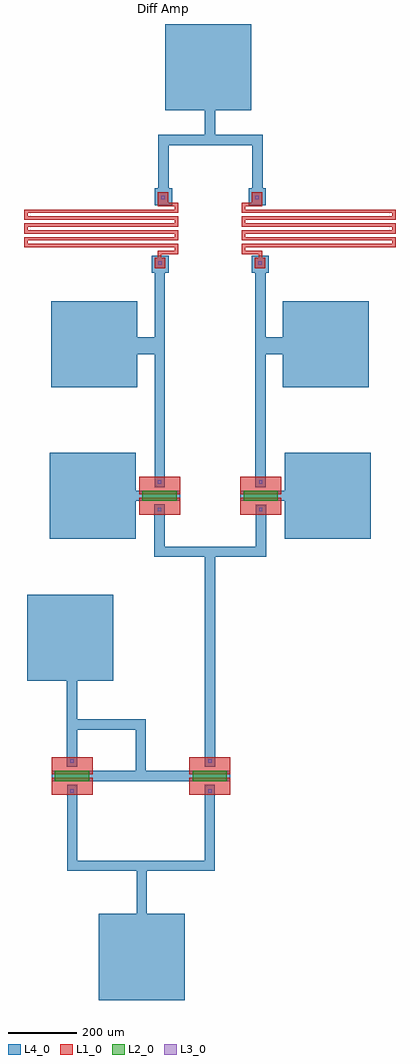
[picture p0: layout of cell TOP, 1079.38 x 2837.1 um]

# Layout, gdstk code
import gdstk
lib = gdstk.Library(unit=1e-6, precision=1e-09)
def R(c, l, rs):  # rectangles x0, y0, x1, y1
    for r in rs: c.add(gdstk.rectangle(r[:2], r[2:], *l))
def A(c, l, x, y, w, h, nx, ny, dx, dy):  # array of equal rectangles
    R(c, l, [(x+i*dx, y+j*dy, x+i*dx+w, y+j*dy+h) for i in range(nx) for j in range(ny)])
L1_0 = (1, 0)
L2_0 = (2, 0)
L3_0 = (3, 0)
L4_0 = (4, 0)

top = lib.new_cell('TOP')
A(top, L1_0, 802.918, -4554.29, 10, 10, 1, 4, 0, 40)
A(top, L1_0, 998.54, -4554.29, 10, 10, 1, 4, 0, 40)
A(top, L1_0, 366.04, -4544.29, 446.878, 10, 1, 6, 0, 20)
A(top, L1_0, 998.54, -4544.29, 446.878, 10, 1, 6, 0, 20)
A(top, L1_0, 366.04, -4534.29, 10, 10, 1, 3, 0, 40)
A(top, L1_0, 1435.418, -4534.29, 10, 10, 1, 3, 0, 40)
R(top, L1_0, [(445.134,-6135.943,565.134,-6085.943), (445.134,-6135.943,565.134,-6085.943), (845.134,-6135.943,965.134,-6085.943), (845.134,-6135.943,965.134,-6085.943), (445.134,-6075.943,565.134,-6025.943), (445.134,-6075.943,565.134,-6025.943), (845.134,-6075.943,965.134,-6025.943), (845.134,-6075.943,965.134,-6025.943), (699.41,-5321.569,819.41,-5271.569), (699.41,-5321.569,819.41,-5271.569), (993.312,-5321.569,1113.312,-5271.569), (993.312,-5321.569,1113.312,-5271.569), (699.41,-5261.569,819.41,-5211.569), (699.41,-5261.569,819.41,-5211.569), (993.312,-5261.569,1113.312,-5211.569), (993.312,-5261.569,1113.312,-5211.569), (745.13,-4604.29,775.13,-4574.29), (755.13,-4604.29,765.13,-4584.289), (1036.328,-4604.29,1066.328,-4574.29), (1046.328,-4604.29,1056.328,-4584.289), (754.518,-4574.29,764.518,-4564.29), (1046.94,-4574.29,1056.94,-4564.29), (754.518,-4564.29,812.918,-4554.29), (754.518,-4564.29,812.918,-4554.29), (998.54,-4564.29,1056.94,-4554.29), (998.54,-4564.29,1056.94,-4554.29), (754.518,-4424.29,812.918,-4414.29), (754.518,-4424.29,812.918,-4414.29), (998.54,-4424.29,1056.94,-4414.29), (998.54,-4424.29,1056.94,-4414.29), (754.518,-4414.29,784.518,-4384.29), (764.518,-4414.29,774.518,-4394.289), (1026.94,-4414.29,1056.94,-4384.29), (1036.94,-4414.29,1046.94,-4394.289)])
R(top, L2_0, [(455.134,-6095.943,555.134,-6065.943), (455.134,-6095.943,555.134,-6065.943), (855.134,-6095.943,955.134,-6065.943), (855.134,-6095.943,955.134,-6065.943), (709.41,-5281.569,809.41,-5251.569), (709.41,-5281.569,809.41,-5251.569), (1003.312,-5281.569,1103.312,-5251.569), (1003.312,-5281.569,1103.312,-5251.569)])
R(top, L3_0, [(500.134,-6129.445,510.134,-6119.445), (500.134,-6129.445,510.134,-6119.445), (900.134,-6129.445,910.134,-6119.445), (900.134,-6129.445,910.134,-6119.445), (500.134,-6042.055,510.134,-6032.055), (500.134,-6042.055,510.134,-6032.055), (900.134,-6042.055,910.134,-6032.055), (900.134,-6042.055,910.134,-6032.055), (754.41,-5311.569,764.41,-5301.569), (754.41,-5311.569,764.41,-5301.569), (1048.312,-5311.569,1058.312,-5301.569), (1048.312,-5311.569,1058.312,-5301.569), (754.41,-5231.569,764.41,-5221.569), (754.41,-5231.569,764.41,-5221.569), (1048.312,-5231.569,1058.312,-5221.569), (1048.312,-5231.569,1058.312,-5221.569), (755.13,-4594.29,765.13,-4584.29), (1046.328,-4594.29,1056.328,-4584.29), (764.518,-4404.29,774.518,-4394.29), (1036.94,-4404.29,1046.94,-4394.29)])
A(top, L4_0, 445.134, -6095.943, 130, 30, 4, 1, 130, 0)
R(top, L4_0, [(581.75,-6732.096,831.75,-6482.096), (692.34,-6482.096,722.34,-6357.096), (692.34,-6482.096,722.34,-6357.096), (490.488,-6357.096,520.488,-6232.096), (490.488,-6357.096,520.488,-6232.096), (520.488,-6357.096,650.488,-6327.096), (650.488,-6357.096,780.488,-6327.096), (780.488,-6357.096,889.78,-6327.096), (889.78,-6357.096,919.78,-6232.096), (889.78,-6357.096,919.78,-6232.096), (490.488,-6232.096,520.488,-6107.096), (490.488,-6232.096,520.488,-6107.096), (889.78,-6232.096,919.78,-6107.096), (889.78,-6232.096,919.78,-6107.096), (445.134,-6095.943,575.134,-6065.943), (835.134,-6095.943,965.134,-6065.943), (689.351,-6065.943,719.351,-5946.521), (489.718,-6053.525,519.718,-5928.525), (489.718,-6053.525,519.718,-5928.525), (890.55,-6053.525,920.55,-5928.525), (890.55,-6053.525,920.55,-5928.525), (519.718,-5946.521,649.718,-5916.521), (649.718,-5946.521,719.351,-5916.521), (489.718,-5928.525,519.718,-5803.525), (489.718,-5928.525,519.718,-5803.525), (890.55,-5928.525,920.55,-5664.22), (373.781,-5803.525,623.781,-5553.525), (890.55,-5664.22,920.55,-5539.22), (890.55,-5664.22,920.55,-5539.22), (890.55,-5539.22,920.55,-5414.22), (744.056,-5444.22,890.55,-5414.22), (920.55,-5444.22,1068.666,-5414.22), (744.056,-5414.22,774.056,-5291.669), (1038.666,-5414.22,1068.666,-5292.214), (439.41,-5391.569,689.41,-5141.569), (439.41,-5391.569,689.41,-5141.569), (1123.312,-5391.569,1373.312,-5141.569), (1123.312,-5391.569,1373.312,-5141.569), (689.41,-5281.569,819.41,-5251.569), (689.41,-5281.569,819.41,-5251.569), (993.312,-5281.569,1123.312,-5251.569), (993.312,-5281.569,1123.312,-5251.569), (1037.896,-5241.751,1067.896,-5118.039), (744.826,-5241.327,774.826,-5118.039), (744.826,-5118.039,774.826,-4993.039), (744.826,-5118.039,774.826,-4993.039), (1037.896,-5118.039,1067.896,-4993.039), (1037.896,-5118.039,1067.896,-4993.039), (744.826,-4993.039,774.826,-4868.039), (744.826,-4993.039,774.826,-4868.039), (1037.896,-4993.039,1067.896,-4868.039), (1037.896,-4993.039,1067.896,-4868.039), (444.826,-4951.219,694.826,-4701.219), (444.826,-4951.219,694.826,-4701.219), (1117.896,-4951.219,1367.896,-4701.219), (1117.896,-4951.219,1367.896,-4701.219), (744.826,-4868.039,774.826,-4743.039), (744.826,-4868.039,774.826,-4743.039), (1037.896,-4868.039,1067.896,-4743.039), (1037.896,-4868.039,1067.896,-4743.039), (694.826,-4855.594,744.826,-4805.594), (694.826,-4855.594,744.826,-4805.594), (1067.896,-4855.594,1117.896,-4805.594), (1067.896,-4855.594,1117.896,-4805.594), (744.826,-4743.039,774.826,-4618.039), (744.826,-4743.039,774.826,-4618.039), (1037.896,-4743.039,1067.896,-4618.039), (1037.896,-4743.039,1067.896,-4618.039), (736.01,-4618.039,786.01,-4568.039), (736.01,-4618.039,786.01,-4568.039), (1026.712,-4618.039,1076.712,-4568.039), (1026.712,-4618.039,1076.712,-4568.039), (745.398,-4422.039,795.398,-4372.039), (1017.82,-4422.039,1067.82,-4372.039), (755.446,-4372.039,785.446,-4247.039), (1028.561,-4372.039,1058.561,-4247.039), (755.446,-4247.039,1058.561,-4217.039), (890.446,-4217.039,920.446,-4145), (776,-4145,1026,-3895)])
top.add(gdstk.Label('Diff Amp', (769.969,-3828.228), layer=4, texttype=0))

lib.write_gds('TOP.gds')
